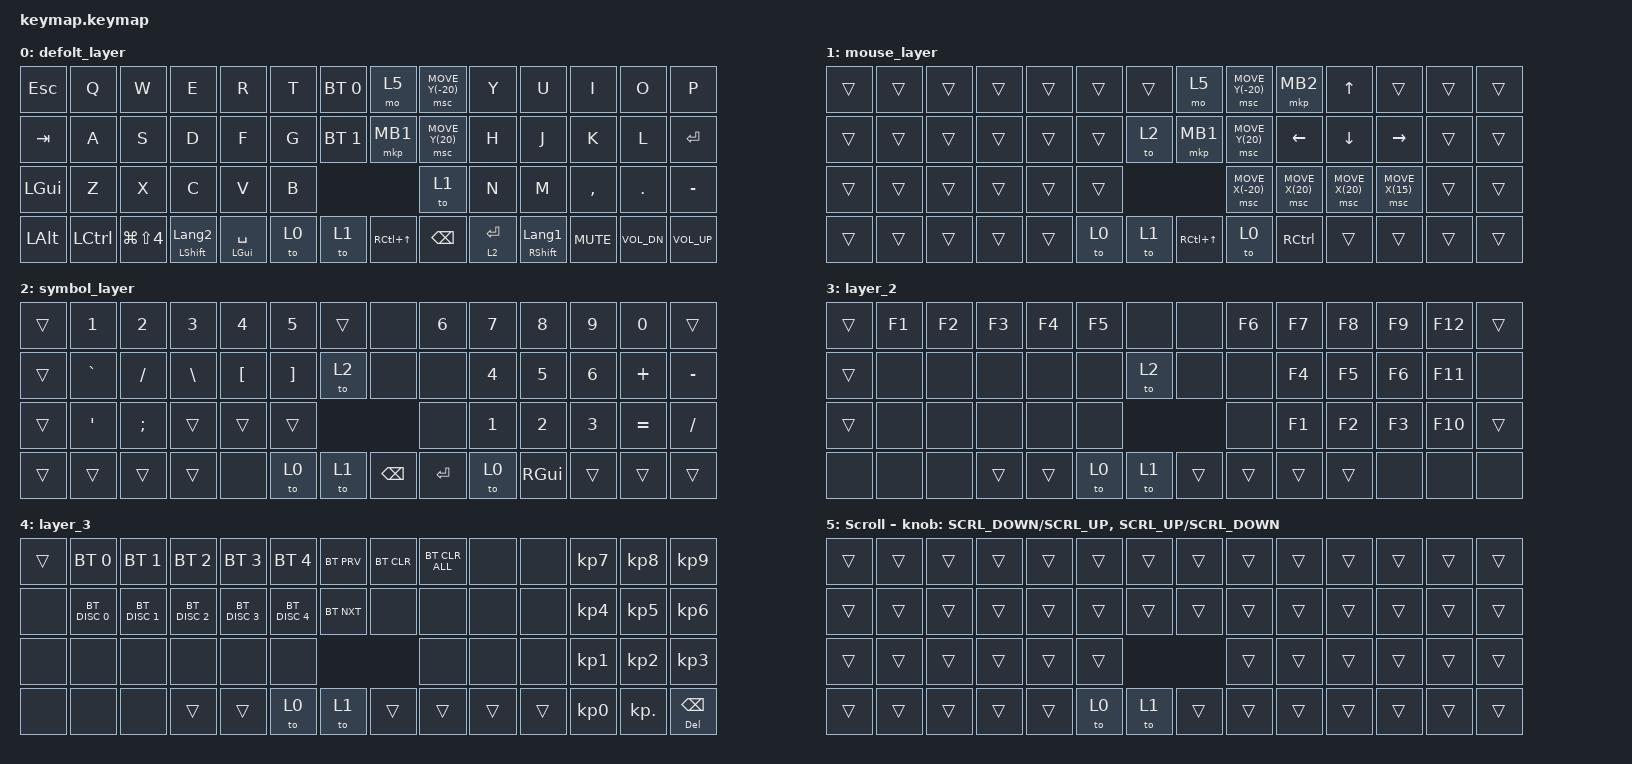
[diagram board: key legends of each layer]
#include <behaviors.dtsi>
#include <dt-bindings/zmk/bt.h>
#include <dt-bindings/zmk/keys.h>
#include <dt-bindings/zmk/pointing.h>

/ {
    behaviors {
        ht_boot_reset: ht_boot_reset {
            compatible = "zmk,behavior-hold-tap";
            label = "HT_BOOT_RESET";
            bindings = <&bootloader>, <&sys_reset>;

            #binding-cells = <2>;
            tapping-term-ms = <1000>;
        };

        mouse_scrl: mouse_wheel_scrl {
            compatible = "zmk,behavior-sensor-rotate-var";
            #sensor-binding-cells = <2>;
            bindings = <&msc>, <&msc>;

            tap-ms = <10>;
        };
    };

    keymap {
        compatible = "zmk,keymap";

        defolt_layer {
            bindings = <
&kp ESC   &kp Q      &kp W                 &kp E                      &kp R               &kp T  &bt BT_SEL 0  &mo 5             &msc MOVE_Y(-20)  &kp Y        &kp U                       &kp I       &kp O         &kp P
&kp TAB   &kp A      &kp S                 &kp D                      &kp F               &kp G  &bt BT_SEL 1  &mkp MB1          &msc MOVE_Y(20)   &kp H        &kp J                       &kp K       &kp L         &kp ENTER
&kp LGUI  &kp Z      &kp X                 &kp C                      &kp V               &kp B                                  &to 1             &kp N        &kp M                       &kp COMMA   &kp DOT       &kp MINUS
&kp LALT  &kp LCTRL  &kp LG(LS(NUMBER_4))  &mt LEFT_SHIFT LANGUAGE_2  &mt LEFT_GUI SPACE  &to 0  &to 1         &kp RC(UP_ARROW)  &kp BACKSPACE     &lt 2 ENTER  &mt RIGHT_SHIFT LANGUAGE_1  &kp K_MUTE  &kp C_VOL_DN  &kp C_VOLUME_UP
            >;
        };

        mouse_layer {
            bindings = <
&trans  &trans  &trans  &trans  &trans  &trans  &trans  &mo 5             &msc MOVE_Y(-20)  &mkp MB2           &kp UP_ARROW     &trans           &trans  &trans
&trans  &trans  &trans  &trans  &trans  &trans  &to 2   &mkp MB1          &msc MOVE_Y(20)   &kp LEFT_ARROW     &kp DOWN_ARROW   &kp RIGHT_ARROW  &trans  &trans
&trans  &trans  &trans  &trans  &trans  &trans                            &msc MOVE_X(-20)  &msc MOVE_X(20)    &msc MOVE_X(20)  &msc MOVE_X(15)  &trans  &trans
&trans  &trans  &trans  &trans  &trans  &to 0   &to 1   &kp RC(UP_ARROW)  &to 0             &kp RIGHT_CONTROL  &trans           &trans           &trans  &trans
            >;
        };

        symbol_layer {
            bindings = <
&trans  &kp N1     &kp N2    &kp N3    &kp N4    &kp N5    &trans  &none     &kp N6     &kp N7  &kp N8    &kp N9  &kp N0     &trans
&trans  &kp GRAVE  &kp FSLH  &kp BSLH  &kp LBKT  &kp RBKT  &to 2   &none     &none      &kp N4  &kp N5    &kp N6  &kp PLUS   &kp MINUS
&trans  &kp APOS   &kp SEMI  &trans    &trans    &trans                      &none      &kp N1  &kp N2    &kp N3  &kp EQUAL  &kp FSLH
&trans  &trans     &trans    &trans    &none     &to 0     &to 1   &kp BSPC  &kp ENTER  &to 0   &kp RGUI  &trans  &trans     &trans
            >;
        };

        layer_2 {
            bindings = <
&trans  &kp F1  &kp F2  &kp F3  &kp F4  &kp F5  &none  &none   &kp F6  &kp F7  &kp F8  &kp F9  &kp F12  &trans
&trans  &none   &none   &none   &none   &none   &to 2  &none   &none   &kp F4  &kp F5  &kp F6  &kp F11  &none
&trans  &none   &none   &none   &none   &none                  &none   &kp F1  &kp F2  &kp F3  &kp F10  &trans
&none   &none   &none   &trans  &trans  &to 0   &to 1  &trans  &trans  &trans  &trans  &none   &none    &none
            >;
        };

        layer_3 {
            bindings = <
&trans  &bt BT_SEL 0   &bt BT_SEL 1   &bt BT_SEL 2   &bt BT_SEL 3   &bt BT_SEL 4   &bt BT_PRV  &bt BT_CLR  &bt BT_CLR_ALL  &none   &none   &kp KP_NUMBER_7  &kp KP_NUMBER_8  &kp KP_NUMBER_9
&none   &bt BT_DISC 0  &bt BT_DISC 1  &bt BT_DISC 2  &bt BT_DISC 3  &bt BT_DISC 4  &bt BT_NXT  &none       &none           &none   &none   &kp KP_NUMBER_4  &kp KP_NUMBER_5  &kp KP_NUMBER_6
&none   &none          &none          &none          &none          &none                                  &none           &none   &none   &kp KP_NUMBER_1  &kp KP_NUMBER_2  &kp KP_NUMBER_3
&none   &none          &none          &trans         &trans         &to 0          &to 1       &trans      &trans          &trans  &trans  &kp KP_NUMBER_0  &kp KP_DOT       &mt DELETE BACKSPACE
            >;
        };

        Scroll {
            bindings = <
&trans  &trans  &trans  &trans  &trans  &trans  &trans  &trans  &trans  &trans  &trans  &trans  &trans  &trans
&trans  &trans  &trans  &trans  &trans  &trans  &trans  &trans  &trans  &trans  &trans  &trans  &trans  &trans
&trans  &trans  &trans  &trans  &trans  &trans                  &trans  &trans  &trans  &trans  &trans  &trans
&trans  &trans  &trans  &trans  &trans  &to 0   &to 1   &trans  &trans  &trans  &trans  &trans  &trans  &trans
            >;

            sensor-bindings =
                <&mouse_scrl SCRL_DOWN SCRL_UP>,
                <&mouse_scrl SCRL_UP SCRL_DOWN>;
        };
    };
};
